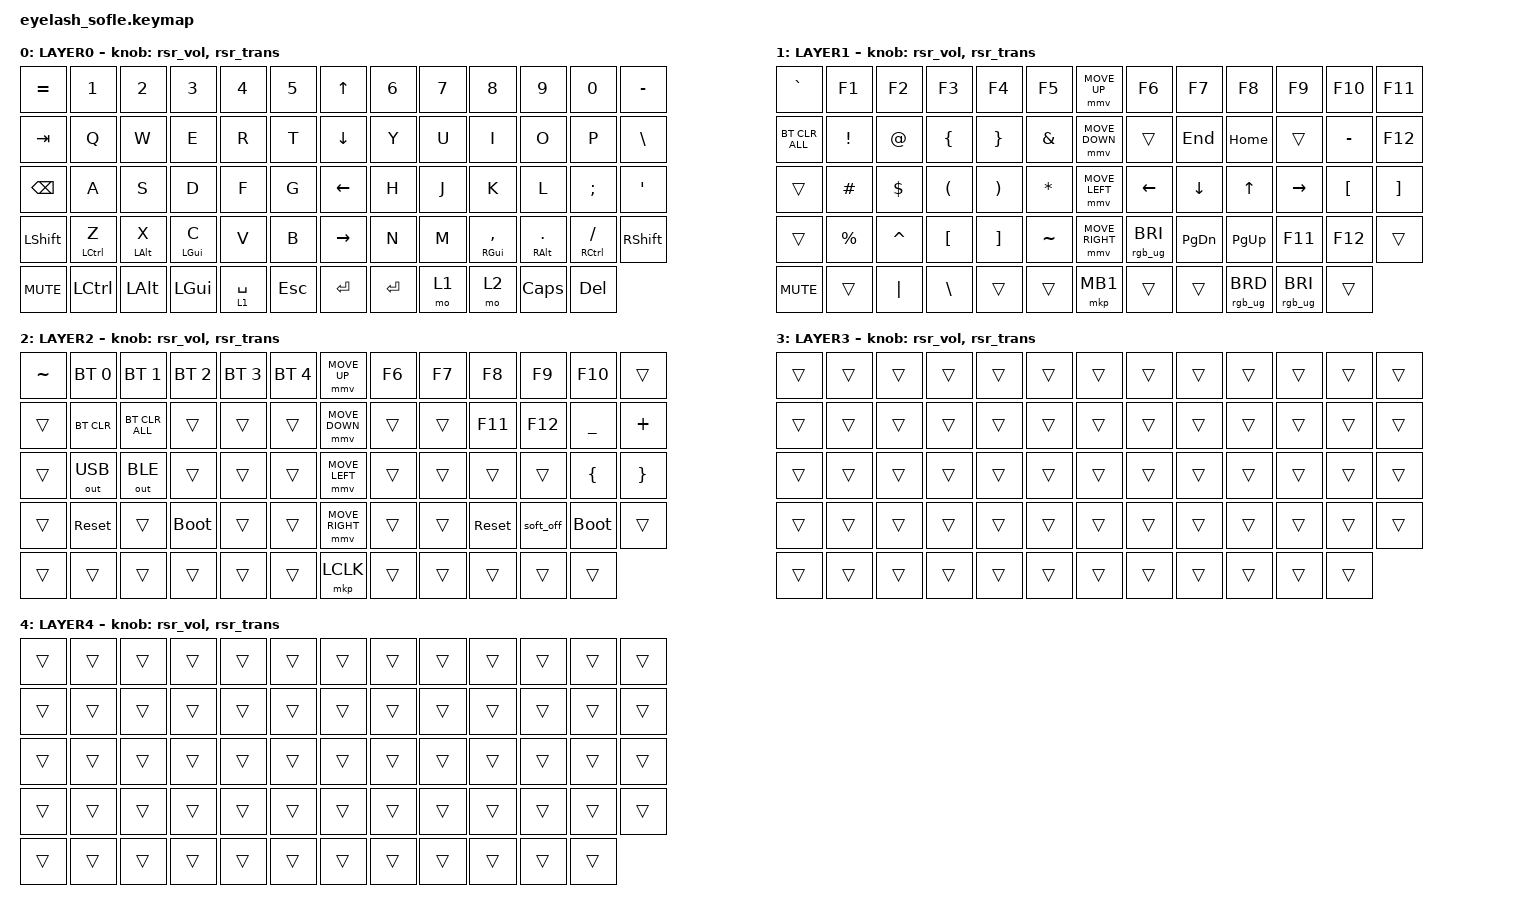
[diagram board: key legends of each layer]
#define ZMK_POINTING_DEFAULT_MOVE_VAL 1200  // 600
#define ZMK_POINTING_DEFAULT_SCRL_VAL 25   // 10

#include <input/processors.dtsi>
#include <zephyr/dt-bindings/input/input-event-codes.h>
#include <behaviors.dtsi>
#include <behaviors/runtime-sensor-rotate.dtsi>
#include <dt-bindings/zmk/bt.h>
#include <dt-bindings/zmk/keys.h>
#include <dt-bindings/zmk/outputs.h>
#include <dt-bindings/zmk/pointing.h>
#include <dt-bindings/zmk/rgb.h>

&mmv_input_listener { input-processors = <&zip_xy_scaler 2 1>; };

&msc_input_listener { input-processors = <&zip_scroll_scaler 2 1>; };

&msc {
    acceleration-exponent = <1>;      // 0
    time-to-max-speed-ms = <100>;       // 300
    delay-ms = <0>;                   // 0
};

&mmv {
    time-to-max-speed-ms = <500>;
    acceleration-exponent = <1>;
    trigger-period-ms = <16>;
};

&soft_off { hold-time-ms = <2000>; };

&mt {
    flavor = "balanced";
    tapping-term-ms = <280>;
    quick-tap-ms = <175>;
    require-prior-idle-ms = <150>;
};

/ {
    scroll_encoder: scroll_encoder {
        compatible = "zmk,behavior-sensor-rotate";
        #sensor-binding-cells = <0>;
        bindings = <&msc SCRL_DOWN>, <&msc SCRL_UP>;

        tap-ms = <100>;
    };

    behaviors {
        rsr_vol: rsr_vol {
            compatible = "zmk,behavior-runtime-sensor-rotate";
            #sensor-binding-cells = <0>;
            tap-ms = <5>;
            cw-binding = <&kp C_VOL_UP>;
            ccw-binding = <&kp C_VOL_DN>;
        };

        rsr_trans: rsr_trans {
            compatible = "zmk,behavior-runtime-sensor-rotate";
            #sensor-binding-cells = <0>;
            tap-ms = <0>;
        };
    };

    combos {
        compatible = "zmk,combos";

        softoff {
            bindings = <&soft_off>;
            key-positions = <14 28 40>;
        };
    };

    macros {
        SHIFT_MCLK: SHIFT_MCLK {
            compatible = "zmk,behavior-macro";
            #binding-cells = <0>;
            bindings =
                <&macro_press>,
                <&kp LEFT_SHIFT>,
                <&macro_press>,
                <&mkp MB3>,
                <&macro_pause_for_release>,
                <&macro_release>,
                <&kp LEFT_SHIFT &mkp MB3>;

            label = "SHIFT_MCLK";
        };
    };

    keymap {
        compatible = "zmk,keymap";

        layer0 {
            bindings = <
&kp EQUAL       &kp N1              &kp N2          &kp N3          &kp N4       &kp N5      &kp UP      &kp N6      &kp N7  &kp N8               &kp N9                &kp N0                   &kp MINUS
&kp TAB         &kp Q               &kp W           &kp E           &kp R        &kp T       &kp DOWN    &kp Y       &kp U   &kp I                &kp O                 &kp P                    &kp BACKSLASH
&kp BACKSPACE   &kp A               &kp S           &kp D           &kp F        &kp G       &kp LEFT    &kp H       &kp J   &kp K                &kp L                 &kp SEMICOLON            &kp SQT
&kp LEFT_SHIFT  &mt LEFT_CONTROL Z  &mt LEFT_ALT X  &mt LEFT_GUI C  &kp V        &kp B       &kp RIGHT   &kp N       &kp M   &mt RIGHT_GUI COMMA  &mt RIGHT_ALT PERIOD  &mt RIGHT_CONTROL SLASH  &kp RIGHT_SHIFT
&kp C_MUTE      &kp LEFT_CONTROL    &kp LEFT_ALT    &kp LEFT_GUI    &lt 1 SPACE  &kp ESCAPE  &kp RETURN  &kp RETURN  &mo 1   &mo 2                &kp CAPS              &kp DELETE
            >;

            sensor-bindings = <&rsr_vol &rsr_trans>;
            display-name = "LAYER0";
        };

        layer_1 {
            bindings = <
&kp GRAVE       &kp F1       &kp F2      &kp F3            &kp F4             &kp F5     &mmv MOVE_UP     &kp F6           &kp F7         &kp F8           &kp F9           &kp F10           &kp F11
&bt BT_CLR_ALL  &kp EXCL     &kp AT      &kp LBRC          &kp RBRC           &kp AMPS   &mmv MOVE_DOWN   &trans           &kp END        &kp HOME         &trans           &kp MINUS         &kp F12
&trans          &kp HASH     &kp DOLLAR  &kp LPAR          &kp RPAR           &kp STAR   &mmv MOVE_LEFT   &kp LEFT         &kp DOWN       &kp UP           &kp RIGHT        &kp LEFT_BRACKET  &kp RIGHT_BRACKET
&trans          &kp PERCENT  &kp CARET   &kp LEFT_BRACKET  &kp RIGHT_BRACKET  &kp TILDE  &mmv MOVE_RIGHT  &rgb_ug RGB_BRI  &kp PAGE_DOWN  &kp PAGE_UP      &kp F11          &kp F12           &trans
&kp C_MUTE      &trans       &kp PIPE    &kp BACKSLASH     &trans             &trans     &mkp MB1         &trans           &trans         &rgb_ug RGB_BRD  &rgb_ug RGB_BRI  &trans
            >;

            sensor-bindings = <&rsr_vol &rsr_trans>;
            display-name = "LAYER1";
        };

        layer_2 {
            bindings = <
&kp TILDE  &bt BT_SEL 0  &bt BT_SEL 1    &bt BT_SEL 2  &bt BT_SEL 3  &bt BT_SEL 4    &mmv MOVE_UP     &kp F6  &kp F7  &kp F8      &kp F9     &kp F10      &trans
&trans     &bt BT_CLR    &bt BT_CLR_ALL  &trans        &trans        &trans          &mmv MOVE_DOWN   &trans  &trans  &kp F11     &kp F12    &kp UNDER    &kp PLUS
&trans     &out OUT_USB  &out OUT_BLE    &trans        &trans        &trans          &mmv MOVE_LEFT   &trans  &trans  &trans      &trans     &kp LBRC     &kp RBRC
&trans     &sys_reset    &trans          &bootloader   &trans        &trans          &mmv MOVE_RIGHT  &trans  &trans  &sys_reset  &soft_off  &bootloader  &trans
&trans     &trans        &trans          &trans        &trans        &trans          &mkp LCLK        &trans  &trans  &trans      &trans     &trans
            >;

            display-name = "LAYER2";
            sensor-bindings = <&rsr_vol &rsr_trans>;
        };

        layer_3 {
            bindings = <
&trans  &trans  &trans  &trans  &trans  &trans    &trans  &trans  &trans  &trans  &trans  &trans  &trans
&trans  &trans  &trans  &trans  &trans  &trans    &trans  &trans  &trans  &trans  &trans  &trans  &trans
&trans  &trans  &trans  &trans  &trans  &trans    &trans  &trans  &trans  &trans  &trans  &trans  &trans
&trans  &trans  &trans  &trans  &trans  &trans    &trans  &trans  &trans  &trans  &trans  &trans  &trans
&trans  &trans  &trans  &trans  &trans  &trans    &trans  &trans  &trans  &trans  &trans  &trans
            >;

            display-name = "LAYER3";
            sensor-bindings = <&rsr_vol &rsr_trans>;
        };

        layer_4 {
            bindings = <
&trans  &trans  &trans  &trans  &trans  &trans    &trans  &trans  &trans  &trans  &trans  &trans  &trans
&trans  &trans  &trans  &trans  &trans  &trans    &trans  &trans  &trans  &trans  &trans  &trans  &trans
&trans  &trans  &trans  &trans  &trans  &trans    &trans  &trans  &trans  &trans  &trans  &trans  &trans
&trans  &trans  &trans  &trans  &trans  &trans    &trans  &trans  &trans  &trans  &trans  &trans  &trans
&trans  &trans  &trans  &trans  &trans  &trans    &trans  &trans  &trans  &trans  &trans  &trans
            >;

            display-name = "LAYER4";
            sensor-bindings = <&rsr_vol &rsr_trans>;
        };
    };
};
